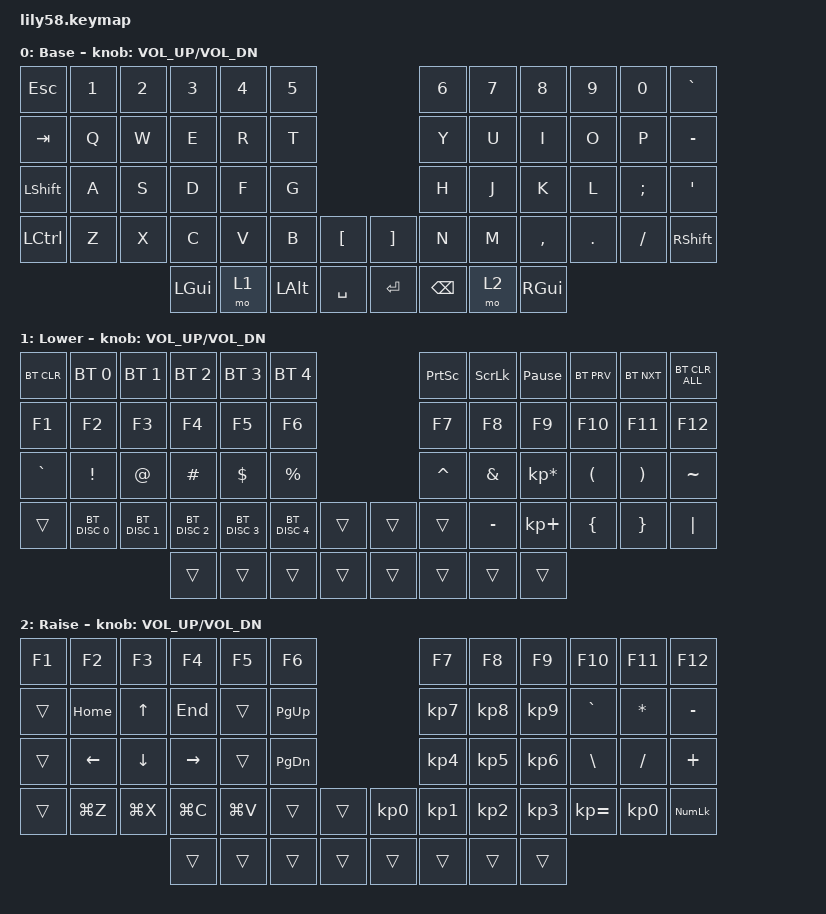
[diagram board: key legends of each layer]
/*
 * Copyright (c) 2020 The ZMK Contributors
 *
 * SPDX-License-Identifier: MIT
 */

#include <behaviors.dtsi>
#include <dt-bindings/zmk/bt.h>
#include <dt-bindings/zmk/keys.h>

/ {
    keymap {
        compatible = "zmk,keymap";

        default_layer {
            // ------------------------------------------------------------------------------------------------------------
            // |  ESC  |  1  |  2  |  3   |  4   |  5   |                   |  6   |  7    |  8    |  9   |   0   |   `   |
            // |  TAB  |  Q  |  W  |  E   |  R   |  T   |                   |  Y   |  U    |  I    |  O   |   P   |   -   |
            // |  CTRL |  A  |  S  |  D   |  F   |  G   |                   |  H   |  J    |  K    |  L   |   ;   |   '   |
            // | SHIFT |  Z  |  X  |  C   |  V   |  B   |   "["  |  |  "]"  |  N   |  M    |  ,    |  .   |   /   | SHIFT |
            //                     | ALT  | GUI  | LOWER|  SPACE |  | ENTER | RAISE| BSPC  | GUI   |

            display-name = "Base";
            bindings = <
&kp ESC         &kp N1  &kp N2  &kp N3        &kp N4  &kp N5                               &kp N6         &kp N7  &kp N8     &kp N9   &kp N0    &kp GRAVE
&kp TAB         &kp Q   &kp W   &kp E         &kp R   &kp T                                &kp Y          &kp U   &kp I      &kp O    &kp P     &kp MINUS
&kp LEFT_SHIFT  &kp A   &kp S   &kp D         &kp F   &kp G                                &kp H          &kp J   &kp K      &kp L    &kp SEMI  &kp SQT
&kp LCTRL       &kp Z   &kp X   &kp C         &kp V   &kp B         &kp LBKT     &kp RBKT  &kp N          &kp M   &kp COMMA  &kp DOT  &kp FSLH  &kp RSHFT
                                &kp LEFT_GUI  &mo 1   &kp LEFT_ALT  &kp SPACE    &kp RET   &kp BACKSPACE  &mo 2   &kp RGUI
            >;

            sensor-bindings = <&inc_dec_kp C_VOL_UP C_VOL_DN>;
        };

        lower_layer {
            // ------------------------------------------------------------------------------------------------------------
            // | BTCLR | BT1 | BT2 |  BT3 |  BT4 |  BT5 |                   |      |       |       |      |       |       |
            // |  F1   |  F2 |  F3 |  F4  |  F5  |  F6  |                   |  F7  |  F8   |  F9   |  F10 |  F11  |  F12  |
            // |   `   |  !  |  @  |  #   |  $   |  %   |                   |  ^   |  &    |  *    |  (   |   )   |   ~   |
            // |       |     |     |      |      |      |        |  |       |      |  _    |  +    |  {   |   }   |  "|"  |
            //                     |      |      |      |        |  |       |      |       |       |

            display-name = "Lower";
            bindings = <
&bt BT_CLR  &bt BT_SEL 0   &bt BT_SEL 1   &bt BT_SEL 2   &bt BT_SEL 3   &bt BT_SEL 4                     &kp PRINTSCREEN  &kp SCROLLLOCK  &kp PAUSE_BREAK  &bt BT_PRV  &bt BT_NXT  &bt BT_CLR_ALL
&kp F1      &kp F2         &kp F3         &kp F4         &kp F5         &kp F6                           &kp F7           &kp F8          &kp F9           &kp F10     &kp F11     &kp F12
&kp GRAVE   &kp EXCL       &kp AT         &kp HASH       &kp DOLLAR     &kp PRCNT                        &kp CARET        &kp AMPS        &kp KP_MULTIPLY  &kp LPAR    &kp RPAR    &kp TILDE
&trans      &bt BT_DISC 0  &bt BT_DISC 1  &bt BT_DISC 2  &bt BT_DISC 3  &bt BT_DISC 4  &trans    &trans  &trans           &kp MINUS       &kp KP_PLUS      &kp LBRC    &kp RBRC    &kp PIPE
                                          &trans         &trans         &trans         &trans    &trans  &trans           &trans          &trans
            >;

            sensor-bindings = <&inc_dec_kp C_VOL_UP C_VOL_DN>;
        };

        raise_layer {
            // ------------------------------------------------------------------------------------------------------------
            // |       |     |     |      |      |      |                   |      |       |       |      |       |       |
            // |   `   |  1  |  2  |  3   |  4   |  5   |                   |  6   |   7   |   8   |  9   |   0   |       |
            // |   F1  |  F2 |  F3 |  F4  |  F5  |  F6  |                   |      |   <-  |   v   |  ^   |  ->   |       |
            // |   F7  |  F8 |  F9 |  F10 |  F11 |  F12 |        |  |       |  +   |   -   |   =   |  [   |   ]   |   \   |
            //                     |      |      |      |        |  |       |      |       |       |

            display-name = "Raise";
            bindings = <
&kp F1  &kp F2     &kp F3        &kp F4           &kp F5     &kp F6                                    &kp F7           &kp F8           &kp F9           &kp F10        &kp F11          &kp F12
&trans  &kp HOME   &kp UP_ARROW  &kp END          &trans     &kp PAGE_UP                               &kp KP_NUMBER_7  &kp KP_NUMBER_8  &kp KP_NUMBER_9  &kp GRAVE      &kp ASTERISK     &kp MINUS
&trans  &kp LEFT   &kp DOWN      &kp RIGHT_ARROW  &trans     &kp PAGE_DOWN                             &kp KP_NUMBER_4  &kp KP_NUMBER_5  &kp KP_NUMBER_6  &kp BACKSLASH  &kp SLASH        &kp PLUS
&trans  &kp LG(Z)  &kp LG(X)     &kp LG(C)        &kp LG(V)  &trans         &trans    &kp KP_NUMBER_0  &kp KP_NUMBER_1  &kp KP_NUMBER_2  &kp KP_NUMBER_3  &kp KP_EQUAL   &kp KP_NUMBER_0  &kp KP_NUMLOCK
                                 &trans           &trans     &trans         &trans    &trans           &trans           &trans           &trans
            >;

            sensor-bindings = <&inc_dec_kp C_VOL_UP C_VOL_DN>;
        };
    };
};
